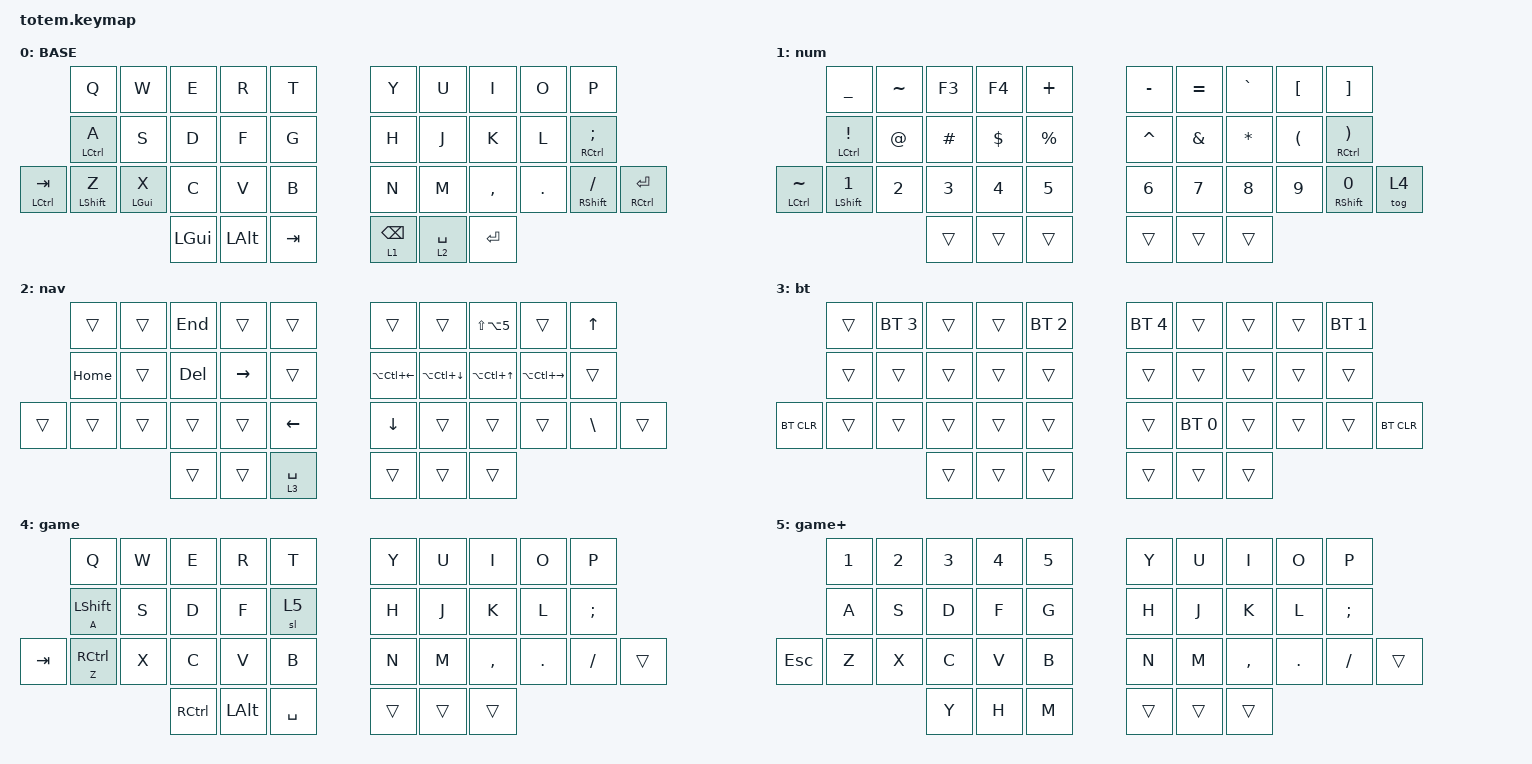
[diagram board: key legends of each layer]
//
//                                                        ▀▀▀▀▀     ▀▀▀▀▀          ▀▀█▀▀
//                                                        ▄▀▀▀▄  ▄  ▄▀▀▀▄  ▄  ▄▀▀▀▄  █  ▄▀▀▀▄
//                                                        █   █  █  █   █  █  █   █  █  █   █
//                                                         ▀▀▀   █   ▀▀▀   █   ▀▀▀   ▀   ▀▀▀
//                                                               █      ▄▄▄█▄▄▄    █   █
//                                                               ▀      █  █  █     █▄█
//                                                             ▀▀▀▀▀    █  █  █      ▀
//                                                                      ▀  ▀  ▀
//
// ▄▄▄▄▄▄▄▄▄▄▄▄▄▄▄▄▄▄▄▄▄▄▄▄▄▄▄▄▄▄▄▄▄▄▄▄▄▄▄▄▄▄▄▄▄▄▄▄▄▄▄▄▄▄▄▄▄▄▄▄▄▄▄▄▄▄▄▄▄▄▄▄▄▄▄▄▄▄▄▄▄▄▄▄▄▄▄▄▄▄▄▄▄▄▄▄▄▄▄▄▄▄▄▄▄▄▄▄▄▄▄▄▄▄▄▄▄▄▄▄▄▄▄▄▄▄▄▄▄▄▄▄▄▄▄▄▄▄▄▄▄▄▄▄▄▄▄▄▄

#include <behaviors.dtsi>
#include <dt-bindings/zmk/bt.h>
#include <dt-bindings/zmk/keys.h>
#include <dt-bindings/zmk/keys.h>

#define BASE 0
#define NAV  1
#define SYM  2
#define ADJ  3
#define TVP1 4
#define TVP2 5

&mt {
    quick-tap-ms = <100>;
    global-quick-tap;
    flavor = "tap-preferred";
    tapping-term-ms = <220>;
};

/ {
    combos {
        compatible = "zmk,combos";

        combo_esc {
            timeout-ms = <50>;
            key-positions = <0 1>;
            bindings = <&kp ESC>;
        };

        quote {
            bindings = <&kp SINGLE_QUOTE>;
            key-positions = <19 18>;
        };

        bkt {
            bindings = <&kp LEFT_BRACKET>;
            key-positions = <9 8>;
        };

        bslh {
            bindings = <&kp BACKSLASH>;
            key-positions = <30 29>;
        };

        tab {
            bindings = <&kp TAB>;
            key-positions = <12 11>;
        };

        enter {
            bindings = <&kp ENTER>;
            key-positions = <17 18>;
        };
    };

    macros {
        kill_line: kill_line {
            compatible = "zmk,behavior-macro";
            #binding-cells = <0>;
            bindings = <&kt LEFT_SHIFT &kp END &kt LEFT_SHIFT &kp DEL>;
            label = "KILL_LINE";
        };

        copy: copy {
            compatible = "zmk,behavior-macro";
            #binding-cells = <0>;
            bindings = <&kt LEFT_SHIFT &kp LC(C)>;
            label = "COPY";
        };

        kill: kill {
            compatible = "zmk,behavior-macro";
            #binding-cells = <0>;
            bindings = <&kt LEFT_SHIFT &kp LC(X)>;
            label = "KILL";
        };
    };

    keymap {
        compatible = "zmk,keymap";

        // ▄▄▄▄▄▄▄▄▄▄▄▄▄▄▄▄▄▄▄▄▄▄▄▄▄▄▄▄▄▄▄▄▄▄▄▄▄▄▄▄▄▄▄▄▄▄▄▄▄▄▄▄▄▄▄▄▄▄▄▄▄▄▄▄▄▄▄▄▄▄▄▄▄▄▄▄▄▄▄▄▄▄▄▄▄▄▄▄▄▄▄▄▄▄▄▄▄▄▄▄▄▄▄▄▄▄▄▄▄▄▄▄▄▄▄▄▄▄▄▄▄▄▄▄▄▄▄▄▄▄▄▄▄▄▄▄▄▄▄▄▄▄▄▄▄▄▄▄▄

        base_layer {
            // ┏━━━━━━━━━━━━━━━━━━━━━━━━━━━━━━━━━━━━━━━┓

            label = "BASE";

            // ┗━━━━━━━━━━━━━━━━━━━━━━━━━━━━━━━━━━━━━━━┛
            //             ┏━━━━━━━━━━━┳━━━━━━━━━━━┳━━━━━━━━━━━┳━━━━━━━━━━━┳━━━━━━━━━━━┓   ┏━━━━━━━━━━━┳━━━━━━━━━━━┳━━━━━━━━━━━┳━━━━━━━━━━━┳━━━━━━━━━━━┓
            //             ┃     Q     ┃     W     ┃     F     ┃     P     ┃     G     ┃   ┃     J     ┃     L     ┃     U     ┃     Y     ┃     ;     ┃
            //             ┣━━━━━━━━━━━╋━━━━━━━━━━━╋━━━━━━━━━━━╋━━━━━━━━━━━╋━━━━━━━━━━━┫   ┣━━━━━━━━━━━╋━━━━━━━━━━━╋━━━━━━━━━━━╋━━━━━━━━━━━╋━━━━━━━━━━━┫
            //             ┃     A     ┃     R     ┃     S     ┃     T     ┃     D     ┃   ┃     H     ┃     N     ┃     E     ┃     I     ┃     O     ┃
            // ┏━━━━━━━━━━━╋━━━━━━━━━━━╋━━━━━━━━━━━╋━━━━━━━━━━━╋━━━━━━━━━━━╋━━━━━━━━━━━┫   ┣━━━━━━━━━━━╋━━━━━━━━━━━╋━━━━━━━━━━━╋━━━━━━━━━━━╋━━━━━━━━━━━╋━━━━━━━━━━━┓
            // ┃     Q     ┃     Z     ┃     X     ┃     C     ┃     V     ┃     B     ┃   ┃     K     ┃     M     ┃     ,     ┃     .     ┃     /     ┃     \     ┃
            // ┗━━━━━━━━━━━┻━━━━━━━━━━━┻━━━━━━━━━━━╋━━━━━━━━━━━╋━━━━━━━━━━━╋━━━━━━━━━━━┫   ┣━━━━━━━━━━━╋━━━━━━━━━━━╋━━━━━━━━━━━╋━━━━━━━━━━━┻━━━━━━━━━━━┻━━━━━━━━━━━┛
            //                                     ┃    DEL    ┃    TAB    ┃    SPC    ┃   ┃   ENTER   ┃           ┃   BSPC    ┃
            //                                     ┗━━━━━━━━━━━┻━━━━━━━━━━━┻━━━━━━━━━━━┛   ┗━━━━━━━━━━━┻━━━━━━━━━━━┻━━━━━━━━━━━┛

            bindings = <
               &kp Q             &kp W           &kp E         &kp R         &kp T      &kp Y            &kp U        &kp I      &kp O    &kp P
               &mt LCTRL A       &kp S           &kp D         &kp F         &kp G      &kp H            &kp J        &kp K      &kp L    &mt RCTRL SEMI
&mt LCTRL TAB  &mt LEFT_SHIFT Z  &mt LEFT_GUI X  &kp C         &kp V         &kp B      &kp N            &kp M        &kp COMMA  &kp DOT  &mt RIGHT_SHIFT SLASH  &mt RCTRL ENTER
                                                 &kp LEFT_GUI  &kp LEFT_ALT  &kp TAB    &lt 1 BACKSPACE  &lt 2 SPACE  &kp ENTER
            >;
        };

        num {
            bindings = <
                 &kp UNDER          &kp TILDE  &kp F3    &kp F4      &kp PLUS       &kp MINUS  &kp EQUAL  &kp GRAVE  &kp LEFT_BRACKET      &kp RIGHT_BRACKET
                 &mt LCTRL EXCL     &kp AT     &kp HASH  &kp DOLLAR  &kp PERCENT    &kp CARET  &kp AMPS   &kp STAR   &kp LEFT_PARENTHESIS  &mt RCTRL RIGHT_PARENTHESIS
&mt LCTRL TILDE  &mt LEFT_SHIFT N1  &kp N2     &kp N3    &kp N4      &kp N5         &kp N6     &kp N7     &kp N8     &kp N9                &mt RIGHT_SHIFT N0           &tog 4
                                               &trans    &trans      &trans         &trans     &trans     &trans
            >;
        };

        nav {
            bindings = <
        &trans    &trans  &kp END  &trans     &trans         &trans            &trans            &kp LS(LA(N5))  &trans             &kp UP
        &kp HOME  &trans  &kp DEL  &kp RIGHT  &trans         &kp LA(LC(LEFT))  &kp LA(LC(DOWN))  &kp LA(LC(UP))  &kp LA(LC(RIGHT))  &trans
&trans  &trans    &trans  &trans   &trans     &kp LEFT       &kp DOWN          &trans            &trans          &trans             &kp BACKSLASH  &trans
                          &trans   &trans     &lt 3 SPACE    &trans            &trans            &trans
            >;
        };

        bt {
            bindings = <
            &trans  &bt BT_SEL 3  &trans  &trans  &bt BT_SEL 2    &bt BT_SEL 4  &trans        &trans  &trans  &bt BT_SEL 1
            &trans  &trans        &trans  &trans  &trans          &trans        &trans        &trans  &trans  &trans
&bt BT_CLR  &trans  &trans        &trans  &trans  &trans          &trans        &bt BT_SEL 0  &trans  &trans  &trans        &bt BT_CLR
                                  &trans  &trans  &trans          &trans        &trans        &trans
            >;
        };

        game {
            bindings = <
         &kp Q             &kp W  &kp E      &kp R     &kp T        &kp Y   &kp U   &kp I      &kp O    &kp P
         &mt A LEFT_SHIFT  &kp S  &kp D      &kp F     &sl 5        &kp H   &kp J   &kp K      &kp L    &kp SEMI
&kp TAB  &mt Z RCTRL       &kp X  &kp C      &kp V     &kp B        &kp N   &kp M   &kp COMMA  &kp DOT  &kp FSLH  &trans
                                  &kp RCTRL  &kp LALT  &kp SPACE    &trans  &trans  &trans
            >;
        };

        game+ {
            bindings = <
         &kp N1  &kp N2  &kp N3  &kp N4  &kp N5    &kp Y   &kp U   &kp I      &kp O    &kp P
         &kp A   &kp S   &kp D   &kp F   &kp G     &kp H   &kp J   &kp K      &kp L    &kp SEMI
&kp ESC  &kp Z   &kp X   &kp C   &kp V   &kp B     &kp N   &kp M   &kp COMMA  &kp DOT  &kp FSLH  &trans
                         &kp Y   &kp H   &kp M     &trans  &trans  &trans
            >;
        };
    };
};
